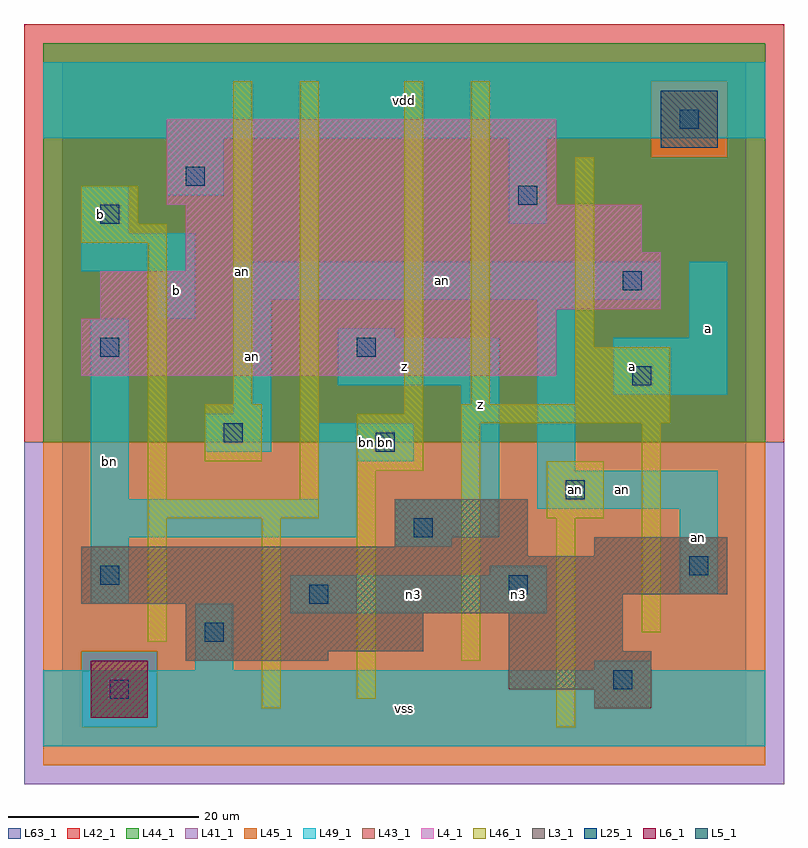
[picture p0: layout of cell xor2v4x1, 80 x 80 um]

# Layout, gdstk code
import gdstk
lib = gdstk.Library(unit=1e-6, precision=1e-09)
def R(c, l, rs):  # rectangles x0, y0, x1, y1
    for r in rs: c.add(gdstk.rectangle(r[:2], r[2:], *l))
L3_1 = (3, 1)
L4_1 = (4, 1)
L5_1 = (5, 1)
L6_1 = (6, 1)
L25_1 = (25, 1)
L41_1 = (41, 1)
L42_1 = (42, 1)
L43_1 = (43, 1)
L44_1 = (44, 1)
L45_1 = (45, 1)
L46_1 = (46, 1)
L49_1 = (49, 1)
L63_1 = (63, 1)

xor2v4x1 = lib.new_cell('xor2v4x1')
R(xor2v4x1, L3_1, [(56,4,62,6), (47,6,62,10), (13,9,28,10), (13,10,38,14), (47,10,59,14), (13,14,59,15), (2,15,59,16), (2,16,70,20), (2,20,49,21), (56,20,70,22), (35,21,49,26)])
R(xor2v4x1, L4_1, [(2,39,52,45), (4,45,52,46), (4,46,63,50), (13,50,63,52), (13,52,61,57), (11,57,52,66)])
R(xor2v4x1, L5_1, [(63,63,69,69)])
R(xor2v4x1, L6_1, [(3,3,9,9), (3,3,9,9)])
R(xor2v4x1, L25_1, [(5,5,7,7), (58,6,60,8), (15,11,17,13), (26,15,28,17), (47,16,49,18), (4,17,6,19), (66,18,68,20), (37,22,39,24), (53,26,55,28), (33,31,35,33), (17,32,19,34), (60,38,62,40), (4,41,6,43), (31,41,33,43), (59,48,61,50), (4,55,6,57), (48,57,50,59), (13,59,15,61), (65,65,67,67)])
R(xor2v4x1, L41_1, [(-4,-4,76,32)])
R(xor2v4x1, L42_1, [(-4,32,76,76)])
R(xor2v4x1, L43_1, [(3,3,9,9), (56,4,62,6), (47,6,62,10), (13,9,28,10), (13,10,38,14), (47,10,59,14), (13,14,59,15), (2,15,59,16), (2,16,70,20), (2,20,49,21), (56,20,70,22), (35,21,49,26), (2,39,52,45), (4,45,52,46), (4,46,63,50), (13,50,63,52), (13,52,61,57), (11,57,52,66), (63,63,69,69)])
R(xor2v4x1, L44_1, [(2,2,10,10), (-2,32,74,62), (-2,62,62,70), (70,62,74,70), (-2,70,74,74)])
R(xor2v4x1, L45_1, [(-2,-2,74,2), (-2,2,2,10), (10,2,74,10), (-2,10,74,32), (62,62,70,70)])
R(xor2v4x1, L46_1, [(52,2,54,24), (21,4,23,24), (31,5,33,29), (42,9,44,34), (9,11,11,24), (61,12,63,34), (9,24,27,26), (51,24,57,30), (9,26,11,53), (25,26,27,70), (31,29,38,35), (15,30,21,36), (42,34,64,36), (36,35,38,70), (18,36,20,70), (43,36,45,70), (54,36,64,42), (54,42,56,62), (2,53,11,55), (2,55,8,59)])
R(xor2v4x1, L49_1, [(-2,0,74,8), (14,8,18,15), (56,8,62,9), (24,14,51,18), (3,15,7,22), (65,16,69,25), (45,18,51,19), (35,21,41,22), (3,22,31,26), (35,22,46,26), (50,25,69,29), (3,26,7,45), (27,26,31,30), (42,26,46,38), (50,29,54,47), (27,30,37,34), (15,31,22,35), (18,35,22,47), (58,37,70,43), (29,38,46,43), (29,43,35,44), (66,43,70,51), (10,45,14,50), (18,47,63,51), (2,50,14,54), (2,54,7,59), (47,55,51,64), (11,58,17,64), (-2,64,74,72)])
R(xor2v4x1, L63_1, [(0,0,72,72)])
xor2v4x1.add(gdstk.Label('an', (19,50), layer=46, texttype=1))
xor2v4x1.add(gdstk.Label('bn', (34,32), layer=49, texttype=1))
xor2v4x1.add(gdstk.Label('an', (54,27), layer=49, texttype=1))
xor2v4x1.add(gdstk.Label('bn', (5,30), layer=49, texttype=1))
xor2v4x1.add(gdstk.Label('b', (12,48), layer=49, texttype=1))
xor2v4x1.add(gdstk.Label('b', (4,56), layer=49, texttype=1))
xor2v4x1.add(gdstk.Label('an', (20,41), layer=49, texttype=1))
xor2v4x1.add(gdstk.Label('vss', (36,4), layer=49, texttype=1))
xor2v4x1.add(gdstk.Label('n3', (48,16), layer=49, texttype=1))
xor2v4x1.add(gdstk.Label('n3', (37,16), layer=49, texttype=1))
xor2v4x1.add(gdstk.Label('bn', (32,32), layer=49, texttype=1))
xor2v4x1.add(gdstk.Label('z', (44,36), layer=49, texttype=1))
xor2v4x1.add(gdstk.Label('z', (36,40), layer=49, texttype=1))
xor2v4x1.add(gdstk.Label('vdd', (36,68), layer=49, texttype=1))
xor2v4x1.add(gdstk.Label('an', (67,22), layer=49, texttype=1))
xor2v4x1.add(gdstk.Label('an', (59,27), layer=49, texttype=1))
xor2v4x1.add(gdstk.Label('a', (60,40), layer=49, texttype=1))
xor2v4x1.add(gdstk.Label('an', (40,49), layer=49, texttype=1))
xor2v4x1.add(gdstk.Label('a', (68,44), layer=49, texttype=1))

lib.write_gds('xor2v4x1.gds')
